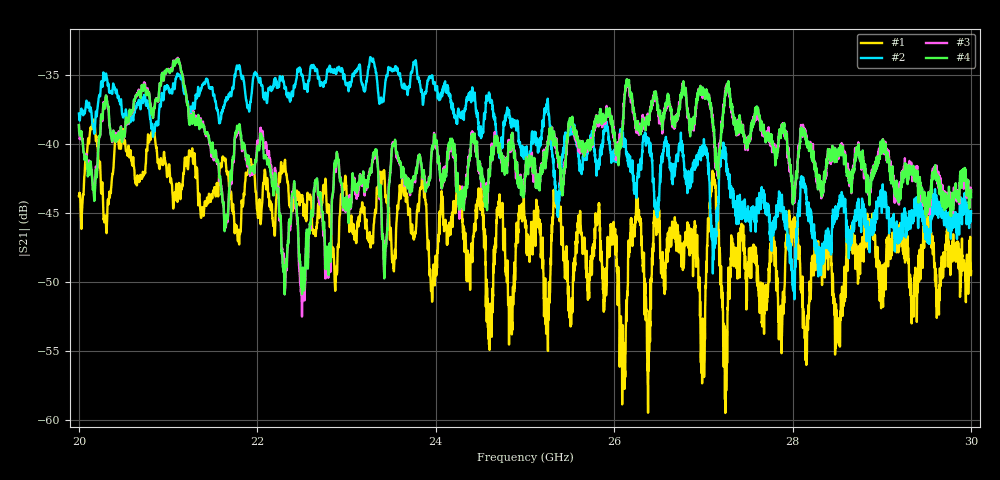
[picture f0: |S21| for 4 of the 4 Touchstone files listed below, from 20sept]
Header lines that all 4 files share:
#  HZ  S  RI  R  50.00
! Rohde & Schwarz ZVA40 4Ports - Version 3.90 - 1145.1110k42 SN: 100403
! Measurements: S11 S21 S12 S22
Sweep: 20 GHz to 30 GHz
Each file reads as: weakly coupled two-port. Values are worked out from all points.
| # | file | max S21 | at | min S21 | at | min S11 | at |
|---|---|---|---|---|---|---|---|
| 1 | screen.s2p | -38.22 dB | 20.17 GHz | -59.5 dB | 27.25 GHz | -68.7 dB | 27.77 GHz |
| 2 | struct_5A.s2p | -33.71 dB | 23.27 GHz | -51.2 dB | 28.02 GHz | -48.6 dB | 25.95 GHz |
| 3 | struct_minus1V.s2p | -33.75 dB | 21.11 GHz | -52.5 dB | 22.5 GHz | -64.2 dB | 29.81 GHz |
| 4 | struct_no_current.s2p | -33.84 dB | 21.11 GHz | -50.9 dB | 22.31 GHz | -56.6 dB | 21.3 GHz |
